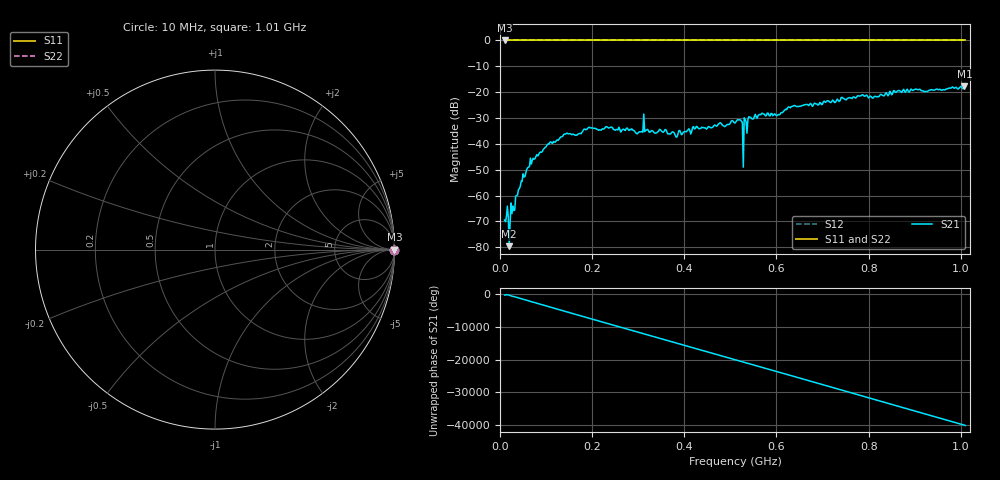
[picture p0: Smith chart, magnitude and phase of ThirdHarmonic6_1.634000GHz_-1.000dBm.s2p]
! 8/16/2025 7:32:23 PM
! C:\ANRITSUVNA\TEMP\TEMP.S2P
! CHANNEL.1
! TR.MEASUREMENT
! RAW.DATA
! RF.CORRECTION.OFF
! AVERAGING.OFF
! IF.BANDWIDTH: 5KHZ
! SWEEPTYPE:  FREQ.SWEEP(Linear)
! Reference Plane Port Info
! PORT:  PORT1  PORT2
! DISTANCE:  0  m  0  m
! TIME:  0  s  0  s
! PHASE.OFFSET:  0  deg.  0  deg.
! LOSS:  0  dB  0  dB
! REF.LOSS:  0  dB  0  dB
! REF.FREQ:  0  Hz  0  Hz
! Power Info
! POWER:  -20  dBm  -20  dBm
! EFF.POWER:  -20  dBm  -20  dBm
! SOURCE.ATTEN:  0  dB  0  dB
! TEST.ATTEN:  0  dB  0  dB
# GHZ S RI R 50.0
! FREQ.GHZ  S11RE  S11IM  S21RE  S21IM  S12RE  S12IM  S22RE  S22IM
!; PortSelection: Port_12
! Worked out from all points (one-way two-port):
!   501 points, 10 MHz to 1.01 GHz, reference 50 ohm
!   highest |S21| = -17.68 dB at 1.008 GHz (marker M1); lowest = -79.6 dB at 20 MHz (marker M2)
!   lowest |S11| = 0.0 dB at 10 MHz (marker M3)
!   |S11| at or under -10 dB: nowhere
!   |S22| runs from 0.0 to 0.0 dB; largest |S21 - S12| = 1.1
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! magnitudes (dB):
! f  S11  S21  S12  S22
! 10 MHz  0.0  -69.5  0.0  0.0
! 20 MHz  0.0  -79.6  0.0  0.0
! 24 MHz  0.0  -62.9  0.0  0.0
! 26 MHz  0.0  -67.0  0.0  0.0
! 46 MHz  0.0  -54.4  0.0  0.0
! 70 MHz  0.0  -46.3  0.0  0.0
! 142 MHz  0.0  -36.2  0.0  0.0
! 178 MHz  0.0  -35.5  0.0  0.0
! 234 MHz  0.0  -33.7  0.0  0.0
! 344 MHz  0.0  -35.1  0.0  0.0
! 382 MHz  0.0  -37.4  0.0  0.0
! 422 MHz  0.0  -34.2  0.0  0.0
! 510 MHz  0.0  -32.0  0.0  0.0
! 522 MHz  0.0  -30.8  0.0  0.0
! 524 MHz  0.0  -31.2  0.0  0.0
! 532 MHz  0.0  -30.6  0.0  0.0
! 534 MHz  0.0  -31.5  0.0  0.0
! 542 MHz  0.0  -29.6  0.0  0.0
! 678 MHz  0.0  -25.5  0.0  0.0
! 844 MHz  0.0  -20.9  0.0  0.0
! 1.008 GHz  0.0  -17.7  0.0  0.0
! 1.01 GHz  0.0  -17.8  0.0  0.0
